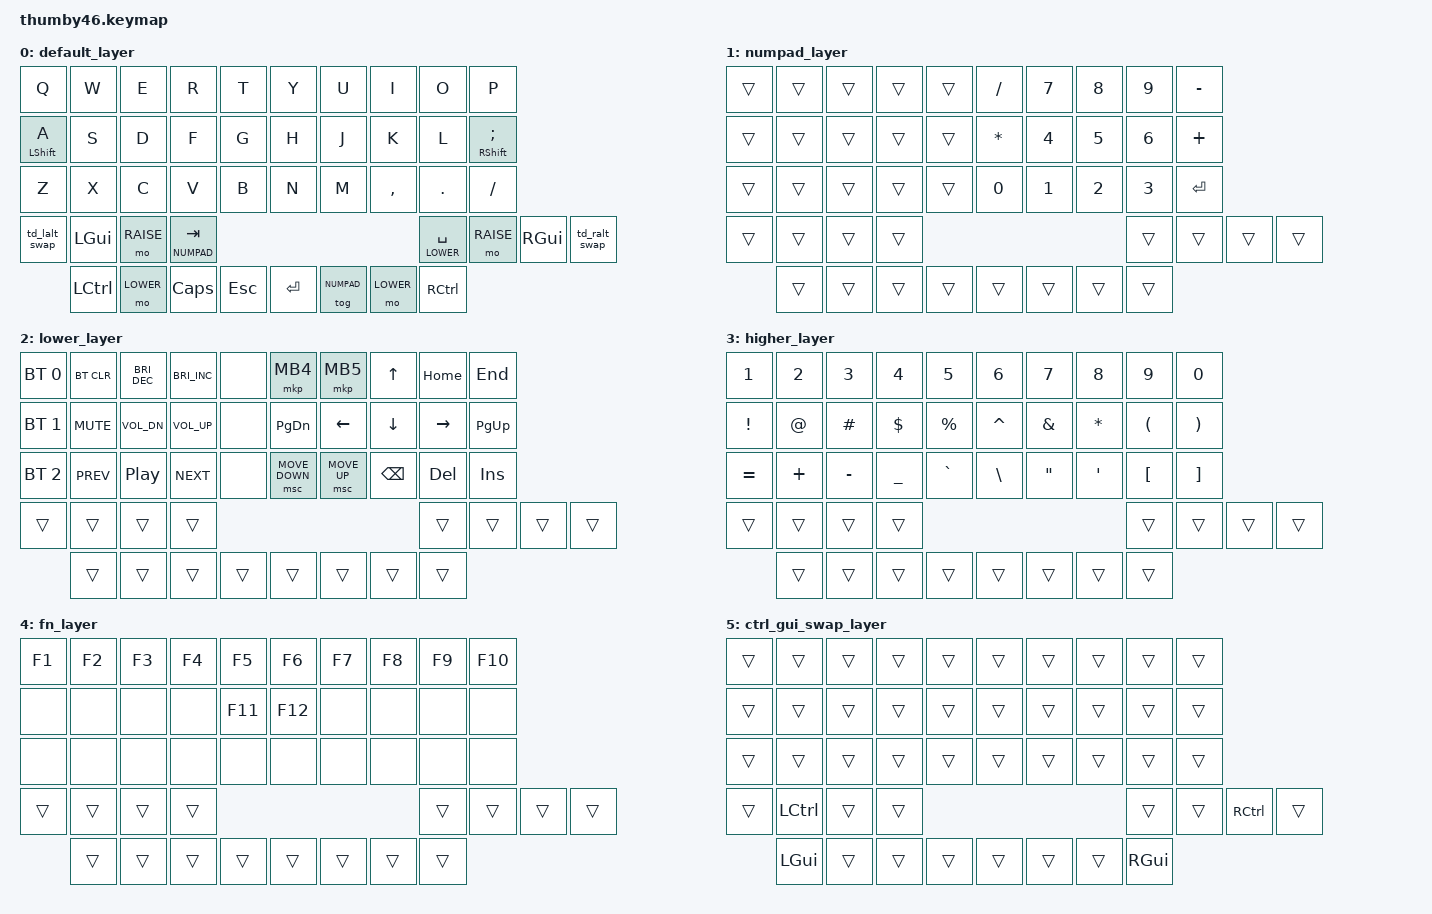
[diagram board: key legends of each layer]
#include <behaviors.dtsi>
#include <dt-bindings/zmk/keys.h>
#include <dt-bindings/zmk/bt.h>

#define ZMK_POINTING_DEFAULT_MOVE_VAL 1500  // default: 600
#define ZMK_POINTING_DEFAULT_SCRL_VAL 20    // default: 10
#include <dt-bindings/zmk/pointing.h>
#include <dt-bindings/zmk/mouse.h>
#include <behaviors/mouse_keys.dtsi>

#define DEFAULT       0
#define NUMPAD        1
#define LOWER         2
#define RAISE         3
#define FUNCTION      4
#define CTRL_GUI_SWAP 5

/* Key positions (0-indexed) derived from your default_layer bindings grid */
#define POS_LSHIFT   33  /* row4 left:  LALT(30) LGUI(31) RAISE(32) LSHIFT(33) */
#define POS_RSHIFT   34  /* row4 right: RSHIFT(34) RAISE(35) RGUI(36) RALT(37) */
#define POS_RAISE_R  35  /* right-side RAISE on row4 */
#define POS_LOWER_R  44  /* right-side LOWER on row5: ... RET(42) SPACE(43) LOWER(44) RCTRL(45) */
#define POS_LGUI     31
#define POS_LCTRL    38  /* row5 left: LCTRL(38) LOWER(39) TAB(40) ESC(41) */
#define POS_RGUI     36
#define POS_RCTRL    45
#define POS_TAB      40  /* row5 left: ... TAB(40) ESC(41) */
#define POS_SPACE    43  /* row5 right: RET(42) SPACE(43) LOWER(44) RCTRL(45) */

#define COMBO_TIMEOUT 70

/ {
        combos {
            compatible = "zmk,combos";

            /* LShift + Tab → toggle Mouse 
            combo_lshift_tab_mouse_toggle {
                timeout-ms = <COMBO_TIMEOUT>;
                key-positions = <POS_LSHIFT POS_TAB>;
                bindings = <&tog MOUSE>;
            };*/

            /* RShift + Space → toggle Mouse
            combo_rshift_space_mouse_toggle {
                timeout-ms = <COMBO_TIMEOUT>;
                key-positions = <POS_RSHIFT POS_SPACE>;
                bindings = <&tog MOUSE>;
            }; */

            // Right RAISE + Right LOWER together → toggle Numpad layer
            combo_right_raise_lower_numpad_toggle {
            timeout-ms = <COMBO_TIMEOUT>;
            key-positions = <POS_RAISE_R POS_LOWER_R>;
            bindings = <&tog NUMPAD>;
            };

            // LGUI + LCTRL held together → momentary Function layer
            combo_fn_left {
            timeout-ms = <COMBO_TIMEOUT>;
            key-positions = <POS_LGUI POS_LCTRL>;
            bindings = <&mo FUNCTION>;    // acts while both are held
            };

            // RGUI + RCTRL held together → momentary Function layer 
            combo_fn_right {
            timeout-ms = <COMBO_TIMEOUT>;
            key-positions = <POS_RGUI POS_RCTRL>;
            bindings = <&mo FUNCTION>;
            };
        };
        behaviors {
            /* Left Shift: hold = LSHFT, single tap = no-op, double tap = CapsLock 
            td_lshift_caps: td_lshift_caps {
            compatible = "zmk,behavior-tap-dance";
            #binding-cells = <0>;
            tapping-term-ms = <200>;      
            bindings = <&kp LSHFT>, 
                        <&kp CAPS>;        
            };*/

            /* Right Shift: hold = RSHFT, single tap = no-op, double tap = CapsLock 
            td_rshift_caps: td_rshift_caps {
            compatible = "zmk,behavior-tap-dance";
            #binding-cells = <0>;
            tapping-term-ms = <200>;
            bindings = <&kp RSHFT>,
                        <&kp CAPS>;
            };*/
            
            /* Left Alt: hold = LALT, tap = no-op, double tap = toggle Ctrl⇄Gui swap (both sides) */
            td_lalt_swap: td_lalt_swap {
                compatible = "zmk,behavior-tap-dance";
                #binding-cells = <0>;
                tapping-term-ms = <200>;
                bindings = <&kp LALT>,   /* hold = Alt, tap = no-op */
                        <&tog CTRL_GUI_SWAP>;
            };

            /* Right Alt: same, also toggles the same swap layer */
            td_ralt_swap: td_ralt_swap {
                compatible = "zmk,behavior-tap-dance";
                #binding-cells = <0>;
                tapping-term-ms = <200>;
                bindings = <&kp RALT>,
                        <&tog CTRL_GUI_SWAP>;
            };
            layer_hold_tap: layer_hold_tap {
                compatible = "zmk,behavior-hold-tap";
                #binding-cells = <2>;

                flavor = "tap-preferred";   
                tapping-term-ms = <200>;

                bindings = <&mo>, <&kp>;
            };
            /* Left Shift: hold = LSHFT, tap = Z */
            kp_hold_tap: kp_hold_tap {
                compatible = "zmk,behavior-hold-tap";
                #binding-cells = <2>;

                flavor = "tap-preferred";
                tapping-term-ms = <200>;       

                bindings = <&kp>, <&kp>;
            };
        };
        keymap {
                compatible = "zmk,keymap";

                default_layer {
// -------------------------------------------------------------------
// |  Q  |  W  |  E  |  R  |  T  |     |  Y  |  U  |  I  |  O  |  P  |
// |  A  |  S  |  D  |  F  |  G  |     |  H  |  J  |  K  |  L  |  ;  |
// |  Z  |  X  |  C  |  V  |  B  |     |  N  |  M  |  ,  |  .  |  /  |
// | ALT | GUI |HIGH |SHFT |     |     |     |SHFT |HIGH | GUI | ALT |
// |     |CNTL | LOW | TAB | ESC |     | ENT | SPC | LOW |CNTL |     |
                        bindings = <  
   &kp Q          &kp W      &kp E      &kp R      &kp T          &kp Y      &kp U            &kp I      &kp O       &kp P   
   &kp_hold_tap LSHFT A          &kp S      &kp D      &kp F      &kp G          &kp H      &kp J            &kp K      &kp L       &kp_hold_tap RSHFT SEMI
   &kp Z          &kp X      &kp C      &kp V      &kp B          &kp N      &kp M            &kp COMMA  &kp DOT     &kp FSLH
   &td_lalt_swap  &kp LGUI   &mo RAISE  &layer_hold_tap NUMPAD TAB                      &layer_hold_tap LOWER SPACE  &mo RAISE  &kp RGUI    &td_ralt_swap
                  &kp LCTRL  &mo LOWER  &kp CAPS    &kp ESC        &kp RET    &tog NUMPAD    &mo LOWER  &kp RCTRL
                        >;
                };

                numpad_layer {
// -------------------------------------------------------------------
// |     |     |     |     |     |     |  /  |  7  |  8  |  9  |  -  |
// |     |     |     |     |     |     |  *  |  4  |  5  |  6  |  +  |
// |     |     |     |     |     |     |  0  |  1  |  2  |  3  | ent |
// |     |     |     |     |     |     |     |     |     |     |     |
// |     |     |     |     |     |     |     |     |     |     |     |
                        bindings = <  
   &trans  &trans  &trans  &trans  &trans         &kp FSLH   &kp N7  &kp N8  &kp N9  &kp MINUS
   &trans  &trans  &trans  &trans  &trans         &kp ASTRK  &kp N4  &kp N5  &kp N6  &kp PLUS
   &trans  &trans  &trans  &trans  &trans         &kp N0     &kp N1  &kp N2  &kp N3  &kp RET
   &trans  &trans  &trans  &trans                            &trans  &trans  &trans  &trans
           &trans  &trans  &trans  &trans         &trans     &trans  &trans  &trans          
                        >;
                };

                lower_layer {
// -------------------------------------------------------------------
// | BT1 |BTCLR|BRIDN|BRIUP|NONE |     |back |fwrd | up  |home |end  |
// | BT2 |MUTE | VUP | VDN |NONE |     |pgdn |left |down |right|pgup |
// | BT3 |PREV |PLAY |NEXT |NONE |     |scrdn|scrup|bkspc| del | ins |
// |     |     |     |     |     |     |     |     |     |     |     |
// |     |     |     |     |     |     |     |     |     |     |     |
                        bindings = <  
   &bt BT_SEL 0  &bt BT_CLR  &kp C_BRI_DEC  &kp C_BRI_INC  &none         &mkp MB4        &mkp MB5      &kp UP    &kp HOME   &kp END   
   &bt BT_SEL 1  &kp C_MUTE  &kp C_VOL_DN   &kp C_VOL_UP   &none         &kp PG_DN       &kp LEFT      &kp DOWN  &kp RIGHT  &kp PG_UP
   &bt BT_SEL 2  &kp C_PREV  &kp C_PP       &kp C_NEXT     &none         &msc MOVE_DOWN  &msc MOVE_UP  &kp BSPC  &kp DEL    &kp INS
   &trans        &trans      &trans         &trans                                       &trans        &trans    &trans     &trans
                 &trans      &trans         &trans         &trans        &trans          &trans        &trans    &trans           
                        >;
                };

                higher_layer {
// -------------------------------------------------------------------
// |  1  |  2  |  3  |  4  |  5  |     |  6  |  7  |  8  |  9  |  0  |
// |  !  |  @  |  #  |  $  |  %  |     |  ^  |  &  |  *  |LPAR |RPAR |
// | UND | MIN |PLUS |EQUAL|GRAVE|     |  \  |  "  |  '  |LBKT |RBKT |
// |     |     |     |     |     |     |     |     |     |     |     |
// |     |     |     |     |     |     |     |     |     |     |     |
                        bindings = <  
   &kp N1     &kp N2     &kp N3    &kp N4      &kp N5         &kp N6     &kp N7     &kp N8     &kp N9    &kp N0   
   &kp EXCL   &kp AT     &kp HASH  &kp DOLLAR  &kp PRCNT      &kp CARET  &kp AMPS   &kp ASTRK  &kp LPAR  &kp RPAR
   &kp EQUAL  &kp PLUS  &kp MINUS  &kp UNDER   &kp GRAVE      &kp BSLH   &kp DQT    &kp SQT    &kp LBKT  &kp RBKT
   &trans     &trans     &trans    &trans                                &trans     &trans     &trans    &trans
              &trans     &trans    &trans      &trans         &trans     &trans     &trans     &trans           
                        >;
                };

                fn_layer {
// -------------------------------------------------------------------
// | F1  | F2  | F3  | F4  | F5  |     | F6  | F7  | F8  | F9  | F10 |
// |     |     |     |     | F11 |     | F12 |     |     |     |     |
// |     |     |     |     |     |     |     |     |     |     |     |
// |     |     |     |     |     |     |     |     |     |     |     |
// |     |     |     |     |     |     |     |     |     |     |     |
    bindings = <
    &kp F1   &kp F2   &kp F3   &kp F4   &kp F5                     &kp F6   &kp F7   &kp F8   &kp F9   &kp F10
    &none    &none    &none    &none    &kp F11                    &kp F12  &none    &none    &none     &none
    &none    &none    &none    &none    &none                      &none    &none    &none    &none     &none
    &trans   &trans   &trans   &trans                                       &trans   &trans   &trans    &trans
             &trans   &trans   &trans   &trans                    &trans    &trans   &trans   &trans
                        >;
                };

                //mouse_layer {
// -------------------------------------------------------------------
// |     |     |     |     |     |     |back |fwrd | up  |     |     |
// |     |     |     |     |     |     |mclk |left |down |right|     |
// |     |     |     |     |     |     |scdwn|scup |scrit|sclft|     |
// |     |     |     |     |     |     |     |     |     |     |     |
// |     |     |     |     |     |     |     |     |     |     |     |
                    /*    bindings = <  
   &trans  &trans  &trans  &trans  &trans         &mkp MB4        &mkp MB5        &mmv MOVE_UP    &none            &none   
   &trans  &trans  &trans  &trans  &trans         &mkp MCLK       &mmv MOVE_LEFT  &mmv MOVE_DOWN  &mmv MOVE_RIGHT  &none
   &trans  &trans  &trans  &trans  &trans         &msc MOVE_DOWN  &msc MOVE_UP    &msc MOVE_LEFT  &msc MOVE_RIGHT  &none
   &trans  &trans  &trans  &trans                                 &mkp RCLK       &trans          &trans           &trans
           &trans  &trans  &trans  &trans         &trans          &mkp LCLK       &trans          &trans           
                        >;
                };*/

                ctrl_gui_swap_layer {
                // -------------------------------------------------------------------
                // Swaps LGUI↔LCTRL and RGUI↔RCTRL. All other keys are transparent.
                    bindings = <
    &trans &trans     &trans &trans &trans      &trans &trans &trans &trans     &trans
    &trans &trans     &trans &trans &trans      &trans &trans &trans &trans     &trans
    &trans &trans     &trans &trans &trans      &trans &trans &trans &trans     &trans
    &trans &kp LCTRL  &trans &trans                    &trans &trans &kp RCTRL  &trans
           &kp LGUI   &trans &trans &trans      &trans &trans &trans &kp RGUI
                    >;
                };




        };
};

